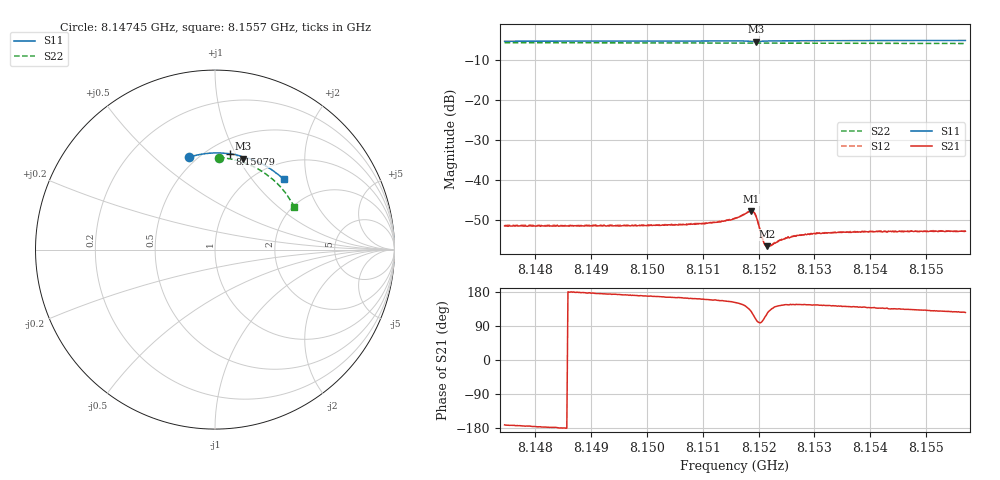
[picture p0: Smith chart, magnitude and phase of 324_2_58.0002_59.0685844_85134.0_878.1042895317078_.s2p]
#  HZ  S  RI  R  50.00
! Rohde & Schwarz Vector Network Analyzer
! Rohde-Schwarz,ZNB20-2Port,1311601062101988,3.16
! Created: UTC 3/21/2024, 1:04:49 AM
! freq[Hz]  re:S11  im:S11  re:S21  im:S21  re:S12  im:S12  re:S22  im:S22
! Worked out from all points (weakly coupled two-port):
!   401 points, 8.14745 GHz to 8.1557 GHz, reference 50 ohm
!   highest |S21| = -47.92 dB at 8.15187 GHz (marker M1); lowest = -56.7 dB at 8.15216 GHz (marker M2)
!   lowest |S11| = -5.5 dB at 8.15195 GHz (marker M3), VSWR 3.26, Z = 37.2 + j52.4 ohm
!   |S11| at or under -10 dB: nowhere
!   |S22| runs from -6.0 to -5.8 dB; largest |S21 - S12| = 0.00013
!   S11 on the Smith chart (normalised r, x): 8.14745 GHz: 0.45, +0.65; 8.15079 GHz: 0.63, +0.95; 8.1557 GHz: 1.31, +1.47
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8.147454e9  -0.1468 0.5143  -0.0026 -0.000403  -0.00266 -0.000361  0.0217 0.513
8.148836e9  -0.0526 0.5348  -0.00263 9.3e-05  -0.00268 0.000164  0.111 0.4997
8.150217e9  0.0435 0.538  -0.0026 0.000585  -0.00265 0.000631  0.1955 0.4712
8.150794e9  0.0837 0.534  -0.00264 0.000839  -0.00267 0.000909  0.2289 0.455
8.15098e9  0.0967 0.532  -0.00263 0.000934  -0.00266 0.000986  0.2394 0.4491
8.151289e9  0.1184 0.5279  -0.00272 0.00114  -0.00275 0.0012  0.2563 0.4391
8.151578e9  0.1391 0.5225  -0.00288 0.00152  -0.0029 0.00158  0.2722 0.4292
8.151825e9  0.1568 0.5126  -0.00279 0.00279  -0.00279 0.00284  0.285 0.4199
8.151867e9  0.1583 0.5099  -0.00249 0.00315  -0.00244 0.00323  0.287 0.4184
8.151908e9  0.1585 0.5071  -0.00185 0.00347  -0.00184 0.00353  0.2891 0.4167
8.151949e9  0.1576 0.5061  -0.00108 0.00336  -0.00103 0.00342  0.291 0.4153
8.15199e9  0.1571 0.5073  -0.000515 0.00284  -0.000446 0.00288  0.2931 0.4139
8.152073e9  0.1609 0.511  -0.000423 0.00174  -0.000404 0.00174  0.2972 0.4109
8.152114e9  0.1644 0.5119  -0.00061 0.00139  -0.000595 0.00142  0.2995 0.4094
8.152155e9  0.1677 0.5122  -0.000806 0.00123  -0.000794 0.00125  0.3016 0.4078
8.152217e9  0.1728 0.5118  -0.00101 0.00109  -0.00104 0.0011  0.3046 0.4054
8.152403e9  0.1869 0.5088  -0.00142 0.00102  -0.00143 0.00103  0.314 0.3979
8.152568e9  0.1985 0.5051  -0.00158 0.00104  -0.0016 0.00109  0.322 0.3912
8.15296e9  0.2245 0.4951  -0.00171 0.00121  -0.00172 0.00117  0.3404 0.3746
8.153496e9  0.2586 0.4792  -0.0017 0.00137  -0.00171 0.00139  0.3641 0.3501
8.154341e9  0.309 0.4499  -0.00159 0.00159  -0.00162 0.00158  0.3978 0.309
8.155702e9  0.3826 0.3917  -0.0013 0.00184  -0.0013 0.00186  0.442 0.2365
